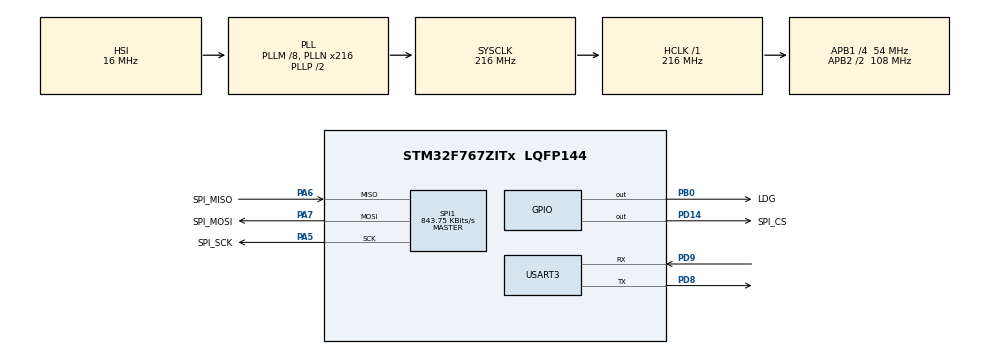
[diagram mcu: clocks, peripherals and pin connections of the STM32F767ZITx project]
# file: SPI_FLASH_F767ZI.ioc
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Mcu.Family=STM32F7
PA6.Mode=Full_Duplex_Master
RCC.CortexFreq_Value=216000000
PA7.Mode=Full_Duplex_Master
SPI1.VirtualType=VM_MASTER
PA6.GPIO_Label=SPI_MISO
PB0.GPIO_Label=LDG
PD9.Signal=USART3_RX
SPI1.CLKPhase=SPI_PHASE_1EDGE
RCC.APB1CLKDivider=RCC_HCLK_DIV4
PD9.Mode=Asynchronous
RCC.SYSCLKSource=RCC_SYSCLKSOURCE_PLLCLK
ProjectManager.StackSize=0x400
USART3.VirtualMode-Asynchronous=VM_ASYNC
PD14.GPIO_Speed=GPIO_SPEED_FREQ_HIGH
SPI1.CLKPolarity=SPI_POLARITY_LOW
ProjectManager.TargetToolchain=STM32CubeIDE
SPI1.Direction=SPI_DIRECTION_2LINES
RCC.HCLKFreq_Value=216000000
RCC.APB2TimFreq_Value=216000000
SPI1.CalculateBaudRate=843.75 KBits/s
PD8.Signal=USART3_TX
RCC.USBFreq_Value=216000000
RCC.LSE_VALUE=32768
PD8.Mode=Asynchronous
RCC.AHBFreq_Value=216000000
PA5.Signal=SPI1_SCK
RCC.HSE_VALUE=25000000
PD14.PinState=GPIO_PIN_SET
board=custom
RCC.VCOOutputFreq_Value=432000000
RCC.APB2Freq_Value=108000000
SPI1.CRCCalculation=SPI_CRCCALCULATION_DISABLE
SPI1.Mode=SPI_MODE_MASTER
SPI1.DataSize=SPI_DATASIZE_8BIT
PD14.GPIO_PuPd=GPIO_PULLUP
PD14.GPIO_Label=SPI_CS
Mcu.Name=STM32F767ZITx
SPI1.NSSPMode=SPI_NSS_PULSE_DISABLE
PD14.Signal=GPIO_Output
RCC.SYSCLKFreq_VALUE=216000000
Mcu.Package=LQFP144
PA6.Signal=SPI1_MISO
PA7.GPIO_Label=SPI_MOSI
PA5.GPIO_Label=SPI_SCK
ProjectManager.HeapSize=0x200
RCC.HSI_VALUE=16000000
NVIC.PriorityGroup=NVIC_PRIORITYGROUP_4
RCC.APB2CLKDivider=RCC_HCLK_DIV2
RCC.PLLM=8
RCC.PLLN=216
RCC.APB1TimFreq_Value=108000000
RCC.APB1Freq_Value=54000000
SPI1.BaudRatePrescaler=SPI_BAUDRATEPRESCALER_128
PB0.Signal=GPIO_Output
PA5.Mode=Full_Duplex_Master
PA7.Signal=SPI1_MOSI

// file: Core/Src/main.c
/* USER CODE BEGIN Header */
/**
 ******************************************************************************
 * @file           : main.c
 * @brief          : Main program body
 ******************************************************************************
 * @attention
 *
 * <h2><center>&copy; Copyright (c) 2021 STMicroelectronics.
 * All rights reserved.</center></h2>
 *
 * This software component is licensed by ST under BSD 3-Clause license,
 * the "License"; You may not use this file except in compliance with the
 * License. You may obtain a copy of the License at:
 *                        opensource.org/licenses/BSD-3-Clause
 *
 ******************************************************************************
 */
/* USER CODE END Header */
#include "main.h"

/* USER CODE BEGIN Includes */
#include <stdio.h>
#include "spifs.h"
/* USER CODE END Includes */

/* USER CODE BEGIN PD */
#ifdef __GNUC__	//retarget printf to uart3
#define PUTCHAR_PROTOTYPE int __io_putchar(int ch)
#else
#define PUTCHAR_PROTOTYPE int fputc(int ch, FILE *f)
#endif
/* USER CODE END PD */

SPI_HandleTypeDef hspi1;

UART_HandleTypeDef huart3;

void SystemClock_Config(void);
static void MX_GPIO_Init(void);
static void MX_SPI1_Init(void);
static void MX_USART3_UART_Init(void);

int main(void) {

	/* MCU Configuration--------------------------------------------------------*/

	/* Reset of all peripherals, Initializes the Flash interface and the Systick. */
	HAL_Init();

	/* Configure the system clock */
	SystemClock_Config();

	/* Initialize all configured peripherals */
	MX_GPIO_Init();
	MX_SPI1_Init();
	MX_USART3_UART_Init();
	/* USER CODE BEGIN 2 */
	HAL_GPIO_WritePin(LDG_GPIO_Port, LDG_Pin, GPIO_PIN_RESET);

	HAL_GPIO_WritePin(SPI_CS_GPIO_Port, SPI_CS_Pin, GPIO_PIN_SET);

	printf("\n\nStarting SPI Comms with MX25V1606F...\n");
	printf("\tBuilt on %s at %s\n", __DATE__, __TIME__);
	/* USER CODE END 2 */

	/* Infinite loop */
	/* USER CODE BEGIN WHILE */
	uint8_t manufacturerId = 0;
	uint8_t memType = 0;
	uint8_t memDensity = 0;
	uint8_t devCheck = 0;
	printf("\n\nChecking MX25V1606F's IDs for legitimacy:\n");
	HAL_GPIO_TogglePin(LDG_GPIO_Port, LDG_Pin);
	HAL_StatusTypeDef err = spifsGetID(&manufacturerId, &memType, &memDensity);
	if (err != HAL_OK) {
		printf("\t[ERROR] COMMUNICATION WITH THE DEVICE FAILED\n\n");
	}
	if (manufacturerId == SPI_FS_EXP_MANU_ID) {
		printf("\tManufacturer ID is as expected: 0x%02X\n", manufacturerId);
	} else {
		devCheck |= ~devCheck;
		printf(
				"\tManufacturer ID is NOT as expected: 0x%02X; Expected: 0x%02X!!\n",
				manufacturerId, SPI_FS_EXP_MANU_ID);
	}
	if (memType == SPI_FS_EXP_MEM_TYPE) {
		printf("\tManufacturer ID is as expected: 0x%02X\n", memType);
	} else {
		devCheck |= ~devCheck;
		printf(
				"\tManufacturer ID is NOT as expected: 0x%02X; Expected: 0x%02X!!\n",
				memType, SPI_FS_EXP_MEM_TYPE);
	}
	if (memDensity == SPI_FS_EXP_MEM_DENSITY) {
		printf("\tManufacturer ID is as expected: 0x%02X\n", memDensity);
	} else {
		devCheck |= ~devCheck;
		printf(
				"\tManufacturer ID is NOT as expected: 0x%02X; Expected: 0x%02X!!\n",
				memDensity, SPI_FS_EXP_MEM_DENSITY);
	}
	if (!devCheck) {
		printf("\tMX25V1606F is ready to be used!\n");
	} else {
		printf("\tFailed to identify device ID of MX25V1606F\n");
	}

	HAL_Delay(100);

	printf("\nReading Status Register:\n");
	uint8_t statusReg = spifsReadStatus();
	printf("\tStatus: 0x%02X\n\n", statusReg);

	uint32_t length = 128;
	uint8_t fsData[128] = { SPI_FS_CMD_DUMMY };
	uint32_t address = 0x00;
	printf("Reading first %ld bytes:\n\t", length);
	spifsRead(address, fsData, length);
	for (int i = 0; i < length; i++) {
		printf("Addr[%03d]: 0x%02X", i, fsData[i]);
		if (i % 8 != 0 || i == 0) {
			printf(" | ");
		} else if (i != 0 || i != 8) {
			printf("\n\t");
		}
	}
	printf("\n\n\n");

	for (uint32_t i = 0; i < length; i++) {
		fsData[i] = 0; //(uint8_t)i;	//creating data to write
	}
	HAL_Delay(100);

	spifsWriteEnable(1);
	while (((statusReg = spifsReadStatus()) & 0x02) == 0x00) {
		printf("Waiting for status to show 0x02: 0x%02X...\n", statusReg);
		spifsWriteEnable(1);
		HAL_Delay(20);
	}

//	printf("Erasing chip...\n\n");
//	spifsEraseChip();
	spifsPageProgram(address, fsData, length);

	spifsWriteEnable(0);
	while (((statusReg = spifsReadStatus()) & 0x01)) {
		printf("Waiting for status to show 0x00: 0x%02X...\n", statusReg);
		spifsWriteEnable(0);
		HAL_Delay(20);
	}

	spifsRead(address, fsData, length);
	for (int i = 0; i < length; i++) {
		printf("Addr[%03d]: 0x%02X", i, fsData[i]);
		if (i % 8 != 0 || i == 0) {
			printf(" | ");
		} else if (i != 0 || i != 8) {
			printf("\n");
		}
	}

	spifsWriteEnable(1);
	while (((statusReg = spifsReadStatus()) & 0x02) == 0x00) {
//		printf("Waiting for status to show 0x02: 0x%02X...\n", statusReg);
		spifsWriteEnable(1);
		HAL_Delay(20);
	}

//	printf("Erasing chip...\n\n");
	spifsEraseChip();
//	spifsPageProgram(address, fsData, length);

	spifsWriteEnable(0);
	while (((statusReg = spifsReadStatus()) & 0x01)) {
//		printf("Waiting for status to show 0x00: 0x%02X...\n", statusReg);
		spifsWriteEnable(0);
		HAL_Delay(20);
	}

	uint8_t test;
	for (uint32_t i = 0; i < length; i++) {
		W25qxx_ReadByte(&test, i);
		printf("%d | ", test);
		HAL_Delay(10);
	}

	while (1) {
		/* USER CODE END WHILE */

		/* USER CODE BEGIN 3 */

		HAL_GPIO_TogglePin(LDG_GPIO_Port, LDG_Pin);
		HAL_Delay(100);
	}
	/* USER CODE END 3 */
}

void SystemClock_Config(void) {
	RCC_OscInitTypeDef RCC_OscInitStruct = { 0 };
	RCC_ClkInitTypeDef RCC_ClkInitStruct = { 0 };
	RCC_PeriphCLKInitTypeDef PeriphClkInitStruct = { 0 };

	/** Configure the main internal regulator output voltage
	 */
	__HAL_RCC_PWR_CLK_ENABLE();
	__HAL_PWR_VOLTAGESCALING_CONFIG(PWR_REGULATOR_VOLTAGE_SCALE1);
	/** Initializes the RCC Oscillators according to the specified parameters
	 * in the RCC_OscInitTypeDef structure.
	 */
	RCC_OscInitStruct.OscillatorType = RCC_OSCILLATORTYPE_HSI;
	RCC_OscInitStruct.HSIState = RCC_HSI_ON;
	RCC_OscInitStruct.HSICalibrationValue = RCC_HSICALIBRATION_DEFAULT;
	RCC_OscInitStruct.PLL.PLLState = RCC_PLL_ON;
	RCC_OscInitStruct.PLL.PLLSource = RCC_PLLSOURCE_HSI;
	RCC_OscInitStruct.PLL.PLLM = 8;
	RCC_OscInitStruct.PLL.PLLN = 216;
	RCC_OscInitStruct.PLL.PLLP = RCC_PLLP_DIV2;
	RCC_OscInitStruct.PLL.PLLQ = 2;
	if (HAL_RCC_OscConfig(&RCC_OscInitStruct) != HAL_OK) {
		Error_Handler();
	}
	/** Activate the Over-Drive mode
	 */
	if (HAL_PWREx_EnableOverDrive() != HAL_OK) {
		Error_Handler();
	}
	/** Initializes the CPU, AHB and APB buses clocks
	 */
	RCC_ClkInitStruct.ClockType = RCC_CLOCKTYPE_HCLK | RCC_CLOCKTYPE_SYSCLK
			| RCC_CLOCKTYPE_PCLK1 | RCC_CLOCKTYPE_PCLK2;
	RCC_ClkInitStruct.SYSCLKSource = RCC_SYSCLKSOURCE_PLLCLK;
	RCC_ClkInitStruct.AHBCLKDivider = RCC_SYSCLK_DIV1;
	RCC_ClkInitStruct.APB1CLKDivider = RCC_HCLK_DIV4;
	RCC_ClkInitStruct.APB2CLKDivider = RCC_HCLK_DIV2;

	if (HAL_RCC_ClockConfig(&RCC_ClkInitStruct, FLASH_LATENCY_7) != HAL_OK) {
		Error_Handler();
	}
	PeriphClkInitStruct.PeriphClockSelection = RCC_PERIPHCLK_USART3;
	PeriphClkInitStruct.Usart3ClockSelection = RCC_USART3CLKSOURCE_PCLK1;
	if (HAL_RCCEx_PeriphCLKConfig(&PeriphClkInitStruct) != HAL_OK) {
		Error_Handler();
	}
}

static void MX_SPI1_Init(void) {

	/* SPI1 parameter configuration*/
	hspi1.Instance = SPI1;
	hspi1.Init.Mode = SPI_MODE_MASTER;
	hspi1.Init.Direction = SPI_DIRECTION_2LINES;
	hspi1.Init.DataSize = SPI_DATASIZE_8BIT;
	hspi1.Init.CLKPolarity = SPI_POLARITY_LOW;
	hspi1.Init.CLKPhase = SPI_PHASE_1EDGE;
	hspi1.Init.NSS = SPI_NSS_SOFT;
	hspi1.Init.BaudRatePrescaler = SPI_BAUDRATEPRESCALER_128;
	hspi1.Init.FirstBit = SPI_FIRSTBIT_MSB;
	hspi1.Init.TIMode = SPI_TIMODE_DISABLE;
	hspi1.Init.CRCCalculation = SPI_CRCCALCULATION_DISABLE;
	hspi1.Init.CRCPolynomial = 7;
	hspi1.Init.CRCLength = SPI_CRC_LENGTH_DATASIZE;
	hspi1.Init.NSSPMode = SPI_NSS_PULSE_DISABLE;
	if (HAL_SPI_Init(&hspi1) != HAL_OK) {
		Error_Handler();
	}

}

static void MX_USART3_UART_Init(void) {

	huart3.Instance = USART3;
	huart3.Init.BaudRate = 115200;
	huart3.Init.WordLength = UART_WORDLENGTH_8B;
	huart3.Init.StopBits = UART_STOPBITS_1;
	huart3.Init.Parity = UART_PARITY_NONE;
	huart3.Init.Mode = UART_MODE_TX_RX;
	huart3.Init.HwFlowCtl = UART_HWCONTROL_NONE;
	huart3.Init.OverSampling = UART_OVERSAMPLING_16;
	huart3.Init.OneBitSampling = UART_ONE_BIT_SAMPLE_DISABLE;
	huart3.AdvancedInit.AdvFeatureInit = UART_ADVFEATURE_NO_INIT;
	if (HAL_UART_Init(&huart3) != HAL_OK) {
		Error_Handler();
	}

}

static void MX_GPIO_Init(void) {
	GPIO_InitTypeDef GPIO_InitStruct = { 0 };

	/* GPIO Ports Clock Enable */
	__HAL_RCC_GPIOA_CLK_ENABLE();
	__HAL_RCC_GPIOB_CLK_ENABLE();
	__HAL_RCC_GPIOD_CLK_ENABLE();

	/*Configure GPIO pin Output Level */
	HAL_GPIO_WritePin(LDG_GPIO_Port, LDG_Pin, GPIO_PIN_RESET);

	/*Configure GPIO pin Output Level */
	HAL_GPIO_WritePin(SPI_CS_GPIO_Port, SPI_CS_Pin, GPIO_PIN_SET);

	/*Configure GPIO pin : LDG_Pin */
	GPIO_InitStruct.Pin = LDG_Pin;
	GPIO_InitStruct.Mode = GPIO_MODE_OUTPUT_PP;
	GPIO_InitStruct.Pull = GPIO_NOPULL;
	GPIO_InitStruct.Speed = GPIO_SPEED_FREQ_LOW;
	HAL_GPIO_Init(LDG_GPIO_Port, &GPIO_InitStruct);

	/*Configure GPIO pin : SPI_CS_Pin */
	GPIO_InitStruct.Pin = SPI_CS_Pin;
	GPIO_InitStruct.Mode = GPIO_MODE_OUTPUT_PP;
	GPIO_InitStruct.Pull = GPIO_PULLUP;
	GPIO_InitStruct.Speed = GPIO_SPEED_FREQ_HIGH;
	HAL_GPIO_Init(SPI_CS_GPIO_Port, &GPIO_InitStruct);

}

/* USER CODE BEGIN 4 */
PUTCHAR_PROTOTYPE {	//retarget printf to uart3
	return HAL_UART_Transmit(&huart3, (uint8_t*) &ch, 1, HAL_MAX_DELAY);
}
/* USER CODE END 4 */

void Error_Handler(void) {
	__disable_irq();
	while (1) {
	}
}

/************************ (C) COPYRIGHT STMicroelectronics *****END OF FILE****/
